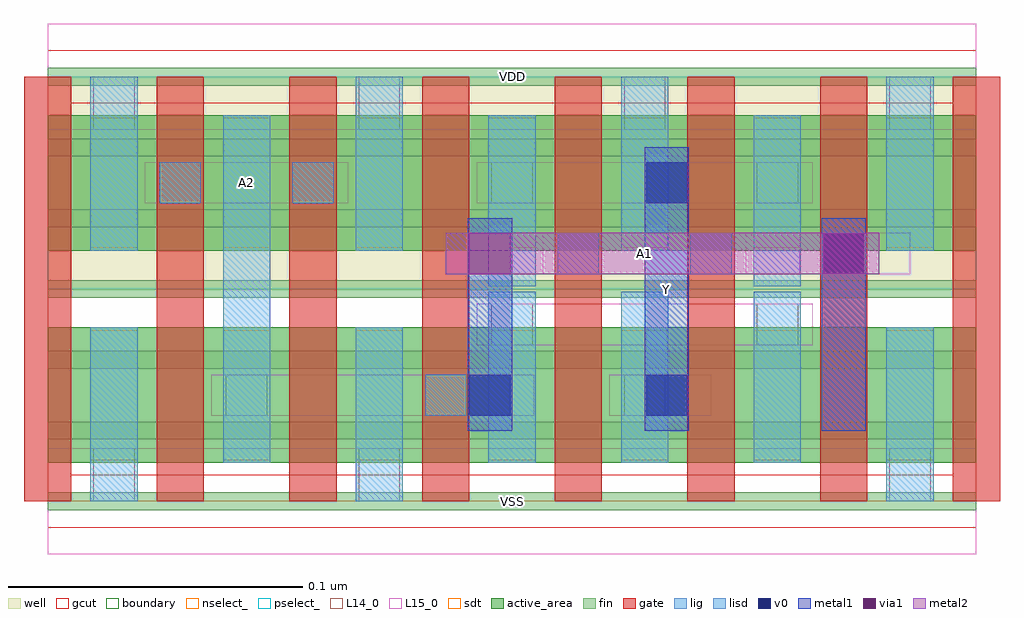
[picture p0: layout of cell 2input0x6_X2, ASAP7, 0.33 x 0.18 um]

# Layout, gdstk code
import gdstk
lib = gdstk.Library(unit=1e-6, precision=2.5e-10)
def R(c, l, rs):  # rectangles x0, y0, x1, y1
    for r in rs: c.add(gdstk.rectangle(r[:2], r[2:], *l))
def A(c, l, x, y, w, h, nx, ny, dx, dy):  # array of equal rectangles
    R(c, l, [(x+i*dx, y+j*dy, x+i*dx+w, y+j*dy+h) for i in range(nx) for j in range(ny)])
def P(c, l, *ps):  # polygons
    for p in ps: c.add(gdstk.Polygon(p, *l))
well = (1, 0)
fin = (2, 0)
gate = (7, 0)
gcut = (10, 0)
active_area = (11, 0)
nselect_ = (12, 0)
pselect_ = (13, 0)
L14_0 = (14, 0)
L15_0 = (15, 0)
lig = (16, 0)
lisd = (17, 0)
v0 = (18, 0)
metal1 = (19, 0)
metal2 = (20, 0)
via1 = (21, 0)
sdt = (88, 0)
boundary = (100, 0)

c_2input0x6_x2 = lib.new_cell('2input0x6_X2')
R(c_2input0x6_x2, well, [(0,0.072,0.315,0.144)])
A(c_2input0x6_x2, fin, 0, -0.003, 0.315, 0.006, 1, 7, 0, 0.024)
A(c_2input0x6_x2, gate, -0.008, 0, 0.016, 0.144, 8, 1, 0.045, 0)
P(c_2input0x6_x2, gcut, [(0,-0.009),(0,0),(-0.008,0),(-0.008,0.135),(0.008,0.135),(0.008,0.009),(0.307,0.009),(0.307,0.135),(-0.008,0.135),(-0.008,0.144),(0,0.144),(0,0.153),(0.315,0.153),(0.315,0.144),(0.323,0.144),(0.323,0),(0.315,0),(0.315,-0.009)])
R(c_2input0x6_x2, active_area, [(0,0.013,0.315,0.059), (0,0.085,0.315,0.131)])
R(c_2input0x6_x2, nselect_, [(0,0,0.315,0.072)])
R(c_2input0x6_x2, pselect_, [(0,0.072,0.315,0.144)])
A(c_2input0x6_x2, L14_0, 0.0605, 0.029, 0.014, 0.014, 3, 1, 0.0675, 0)
A(c_2input0x6_x2, L14_0, 0.173, 0.077, 0.014, 0.014, 3, 1, 0.045, 0)
A(c_2input0x6_x2, L14_0, 0.0155, 0.126, 0.014, 0.018, 4, 1, 0.09, 0)
R(c_2input0x6_x2, L14_0, [(0.0155,0,0.0295,0.018), (0.1055,0,0.1195,0.018), (0.2855,0,0.2995,0.018), (0.1505,0.053,0.1645,0.067), (0.2405,0.053,0.2545,0.067), (0.038,0.101,0.052,0.115), (0.083,0.101,0.097,0.115), (0.1505,0.101,0.1645,0.115), (0.2405,0.101,0.2545,0.115)])
R(c_2input0x6_x2, L15_0, [(0,-0.018,0.315,0.018), (0.0555,0.029,0.165,0.043), (0.1905,0.029,0.225,0.043), (0.1455,0.053,0.2595,0.067), (0.168,0.077,0.237,0.091), (0.255,0.077,0.2925,0.091), (0.033,0.101,0.102,0.115), (0.1455,0.101,0.2595,0.115), (0,0.126,0.315,0.162)])
A(c_2input0x6_x2, lig, 0.173, 0.077, 0.014, 0.014, 3, 1, 0.045, 0)
R(c_2input0x6_x2, lig, [(0.128,0.029,0.142,0.043), (0.038,0.101,0.052,0.115), (0.083,0.101,0.097,0.115)])
A(c_2input0x6_x2, lisd, 0.1495, 0.013, 0.016, 0.058, 3, 1, 0.045, 0)
A(c_2input0x6_x2, lisd, 0.0145, 0.085, 0.016, 0.059, 4, 1, 0.09, 0)
R(c_2input0x6_x2, lisd, [(0.0145,0,0.0305,0.059), (0.1045,0,0.1205,0.059), (0.2845,0,0.3005,0.059), (0.0595,0.013,0.0755,0.131), (0.1495,0.073,0.1655,0.131), (0.2395,0.073,0.2555,0.131)])
R(c_2input0x6_x2, v0, [(0.143,0.029,0.157,0.043), (0.203,0.029,0.217,0.043), (0.263,0.077,0.277,0.091), (0.203,0.101,0.217,0.115)])
R(c_2input0x6_x2, metal1, [(0.1425,0.024,0.1575,0.096), (0.2025,0.024,0.2175,0.12), (0.2625,0.024,0.2775,0.096)])
R(c_2input0x6_x2, metal2, [(0.135,0.077,0.282,0.091)])
R(c_2input0x6_x2, via1, [(0.143,0.077,0.157,0.091), (0.263,0.077,0.277,0.091)])
A(c_2input0x6_x2, sdt, 0.0145, 0.014, 0.016, 0.044, 7, 2, 0.045, 0.072)
R(c_2input0x6_x2, boundary, [(0,0,0.315,0.144)])
c_2input0x6_x2.add(gdstk.Label('VSS', (0.1575,0), layer=15, texttype=251))
c_2input0x6_x2.add(gdstk.Label('VDD', (0.1575,0.144), layer=15, texttype=251))
c_2input0x6_x2.add(gdstk.Label('A1', (0.2025,0.084), layer=15, texttype=251))
c_2input0x6_x2.add(gdstk.Label('VSS', (0.1575,0), layer=15, texttype=251))
c_2input0x6_x2.add(gdstk.Label('VDD', (0.1575,0.144), layer=15, texttype=251))
c_2input0x6_x2.add(gdstk.Label('A2', (0.0675,0.108), layer=15, texttype=251))
c_2input0x6_x2.add(gdstk.Label('VSS', (0.1575,0), layer=15, texttype=251))
c_2input0x6_x2.add(gdstk.Label('VDD', (0.1575,0.144), layer=15, texttype=251))
c_2input0x6_x2.add(gdstk.Label('Y', (0.21,0.072), layer=19, texttype=251))
c_2input0x6_x2.add(gdstk.Label('VSS', (0.1575,0), layer=3, texttype=251))
c_2input0x6_x2.add(gdstk.Label('VSS', (0.1575,0), layer=3, texttype=251))
c_2input0x6_x2.add(gdstk.Label('VSS', (0.1575,0), layer=3, texttype=251))
c_2input0x6_x2.add(gdstk.Label('VDD', (0.1575,0.144), layer=1, texttype=251))
c_2input0x6_x2.add(gdstk.Label('VDD', (0.1575,0.144), layer=1, texttype=251))
c_2input0x6_x2.add(gdstk.Label('VDD', (0.1575,0.144), layer=1, texttype=251))

lib.write_gds('2input0x6_X2.gds')
